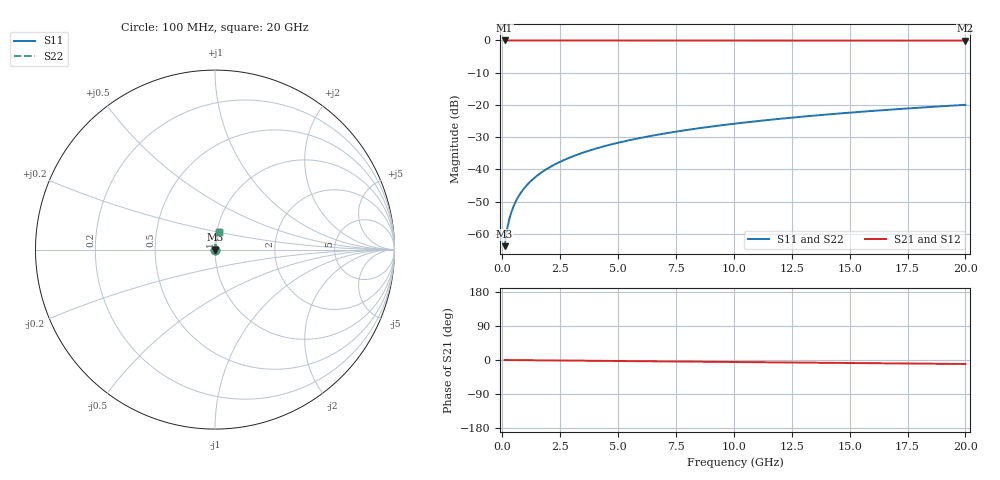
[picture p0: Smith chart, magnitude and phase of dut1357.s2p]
! Touchstone file exported from HFSS 2026.1.0
!  File:  C:/ffzhzh/LocalFiles/Ansys_Project_Files/temp_train_TSV_1357_1783195945_18472.aedt
!  Generated:  04:14:20 AM Jul  5, 2026
!  Design:  TSV
!  Project:  temp_train_TSV_1357_1783195945_18472
! Variables:
!  h_bsmrdl = 2um
!  h_ox = 20um
!  h_rdl = 5um
!  h_sub = 82.79um
!  h_tmrdl = 5um
!  h_tsv = 82.79um
!  h_via = 3um
!  l_bsmrdl = 300um
!  l_sub = 411.14um
!  l_tmrdl = 200um
!  m_sub = 200um
!  pitch = 56.98um
!  r_tsv = 5.57um
!  s_tmrdl = 10um
!  w_bsmrdl = 18um
!  w_sub = 500um
!  w_tmrdl = 12um
!  x_tsv_center1 = 206um
!  x_tsv_center2 = 524um
!  x_tsv_center3 = 736um
!  x_tsv_center4 = 1054um
!  x_tsv_center5 = 1266um
!  x_tsv_center6 = 1584um
# GHz S MA R 50.000000
! Terminal data exported
! Port[1] = TSV1_1_T1
! Port[2] = TSV1_1_T2
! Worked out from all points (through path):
!   200 points, 100 MHz to 20 GHz, reference 50 ohm
!   highest |S21| = 0.00 dB at 100 MHz (marker M1); lowest = -0.1 dB at 20 GHz (marker M2)
!   group delay of S21, straight-line fit = 1.46 ps
!   lowest |S11| = -63.8 dB at 100 MHz (marker M3), VSWR 1.00, Z = 50 + j0.0548 ohm
!   |S11| at or under -10 dB: start of sweep to end of sweep
!   |S22| runs from -63.8 to -20.0 dB; largest |S21 - S12| = 3.2e-15
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0.1  0.0006432 58.4  0.9997 -0.1  0.9997 -0.1  0.0006432 58.4
! Gamma 0 0 0 0
! Port Impedance 50 0 50 0
0.2  0.001148 72.4  0.9997 -0.1  0.9997 -0.1  0.001148 72.4
0.3  0.001677 77.5  0.9996 -0.2  0.9996 -0.2  0.001677 77.5
0.4  0.002211 80.1  0.9996 -0.2  0.9996 -0.2  0.002211 80.1
0.5  0.002743 81.5  0.9996 -0.3  0.9996 -0.3  0.002743 81.5
0.6  0.003274 82.5  0.9996 -0.3  0.9996 -0.3  0.003274 82.5
0.7  0.003801 83.1  0.9996 -0.4  0.9996 -0.4  0.003801 83.1
0.8  0.004327 83.6  0.9995 -0.4  0.9995 -0.4  0.004327 83.6
1  0.005372 84.3  0.9995 -0.5  0.9995 -0.5  0.005372 84.3
1.4  0.007449 85.0  0.9994 -0.8  0.9994 -0.8  0.007449 85.0
1.7  0.009001 85.3  0.9994 -0.9  0.9994 -0.9  0.009001 85.3
2  0.01055 85.5  0.9993 -1.1  0.9993 -1.1  0.01055 85.5
2.7  0.01415 85.6  0.9992 -1.5  0.9992 -1.5  0.01415 85.6
3.5  0.01825 85.5  0.999 -1.9  0.999 -1.9  0.01825 85.5
4.2  0.02181 85.4  0.9989 -2.2  0.9989 -2.2  0.02181 85.4
5  0.02587 85.1  0.9987 -2.7  0.9987 -2.7  0.02587 85.1
6.8  0.03495 84.5  0.9982 -3.6  0.9982 -3.6  0.03495 84.5
8.3  0.04248 83.8  0.9978 -4.4  0.9978 -4.4  0.04248 83.8
10.1  0.05149 83.1  0.9973 -5.4  0.9973 -5.4  0.05149 83.1
13.4  0.0679 81.6  0.9961 -7.1  0.9961 -7.1  0.0679 81.5
16.7  0.08417 80.0  0.9947 -8.8  0.9947 -8.8  0.08417 80.0
20  0.1003 78.3  0.993 -10.5  0.993 -10.5  0.1003 78.3
